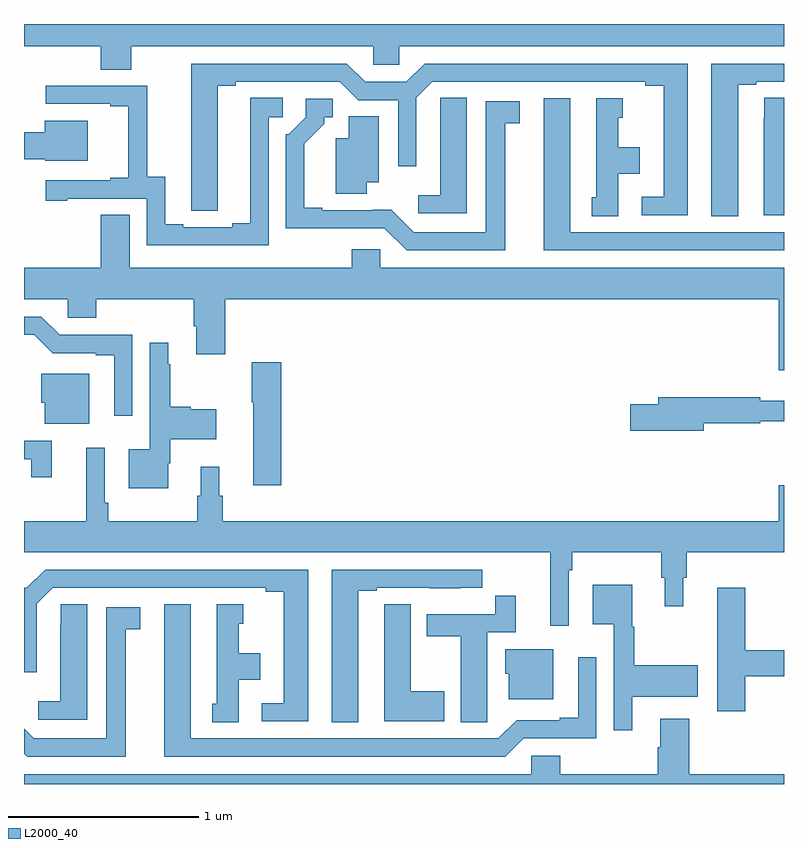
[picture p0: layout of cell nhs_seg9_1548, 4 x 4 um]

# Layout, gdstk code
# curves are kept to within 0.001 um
import gdstk
lib = gdstk.Library(unit=1e-6, precision=1e-09)
def P(c, l, *ps):  # polygons
    for p in ps: c.add(gdstk.Polygon(p, *l))
L2000_40 = (2000, 40)

nhs_seg9_1548 = lib.new_cell('nhs_seg9_1548')
P(nhs_seg9_1548, L2000_40, [(197.565,1232.384),(198.837,1232.384),(198.837,1232.286),(198.975,1232.286),(198.975,1232.384),(201,1232.384),(201,1232.5),(197,1232.5),(197,1232.384),(197.405,1232.384),(197.405,1232.26),(197.565,1232.26)],
  [(200.494,1232.292),(199.109,1232.292),(199.013,1232.196),(198.795,1232.196),(198.699,1232.292),(197.879,1232.292),(197.88,1231.516),(198.019,1231.516),(198.019,1232.176),(198.115,1232.176),(198.115,1232.196),(198.663,1232.196),(198.759,1232.1),(198.969,1232.1),(198.969,1231.752),(199.065,1231.752),(199.065,1232.112),(199.149,1232.196),(200.27,1232.196),(200.27,1232.176),(200.366,1232.176),(200.366,1231.59),(200.25,1231.59),(200.25,1231.494),(200.494,1231.494)],
  [(200.758,1232.181),(200.854,1232.181),(200.854,1232.196),(201,1232.196),(201,1232.292),(200.618,1232.292),(200.618,1231.489),(200.758,1231.489)],
  [(198.288,1232.01),(198.361,1232.01),(198.361,1232.111),(198.191,1232.111),(198.191,1231.451),(198.095,1231.451),(198.095,1231.431),(197.839,1231.431),(197.839,1231.446),(197.743,1231.446),(197.743,1231.697),(197.649,1231.697),(197.649,1232.175),(197.115,1232.175),(197.115,1232.079),(197.453,1232.079),(197.453,1232.067),(197.549,1232.067),(197.549,1231.69),(197.453,1231.69),(197.453,1231.677),(197.115,1231.677),(197.115,1231.569),(197.227,1231.569),(197.227,1231.581),(197.646,1231.581),(197.646,1231.335),(198.288,1231.335)],
  [(199.33,1232.111),(199.191,1232.111),(199.191,1232.003),(199.19,1232.003),(199.19,1231.6),(199.074,1231.6),(199.074,1231.503),(199.33,1231.503)],
  [(201,1232.111),(200.895,1232.111),(200.895,1232.003),(200.894,1232.003),(200.894,1231.493),(201,1231.493)],
  [(201,1231.404),(199.876,1231.404),(199.876,1232.11),(199.736,1232.11),(199.736,1231.308),(201,1231.308)],
  [(200.128,1231.712),(200.242,1231.712),(200.242,1231.852),(200.128,1231.852),(200.128,1232.007),(200.152,1232.007),(200.152,1232.11),(200.012,1232.11),(200.012,1231.587),(199.988,1231.587),(199.988,1231.489),(200.128,1231.489)],
  [(199.534,1231.978),(199.609,1231.978),(199.609,1232.094),(199.43,1232.094),(199.43,1231.404),(199.05,1231.404),(198.932,1231.522),(198.571,1231.521),(198.571,1231.534),(198.475,1231.534),(198.475,1231.87),(198.58,1231.975),(198.58,1232.01),(198.625,1232.01),(198.625,1232.106),(198.483,1232.106),(198.483,1232.01),(198.393,1231.92),(198.378,1231.92),(198.378,1231.424),(198.897,1231.425),(199.014,1231.308),(199.534,1231.308)],
  [(198.805,1231.667),(198.868,1231.667),(198.868,1232.015),(198.71,1232.015),(198.71,1231.9),(198.641,1231.9),(198.641,1231.606),(198.805,1231.606)],
  [(197.335,1231.99),(197.108,1231.99),(197.108,1231.929),(197,1231.929),(197,1231.787),(197.112,1231.787),(197.112,1231.781),(197.335,1231.781)],
  [(201,1231.216),(198.876,1231.216),(198.876,1231.314),(198.725,1231.314),(198.725,1231.216),(197.557,1231.216),(197.557,1231.496),(197.405,1231.496),(197.405,1231.216),(197,1231.216),(197,1231.052),(197.229,1231.052),(197.229,1230.954),(197.381,1230.954),(197.381,1231.052),(197.894,1231.052),(197.894,1230.91),(197.906,1230.91),(197.906,1230.762),(198.059,1230.762),(198.059,1231.052),(200.972,1231.052),(200.972,1230.678),(201,1230.678)],
  [(197.571,1230.864),(197.187,1230.864),(197.091,1230.96),(197,1230.96),(197,1230.864),(197.055,1230.864),(197.151,1230.768),(197.378,1230.768),(197.378,1230.756),(197.474,1230.756),(197.474,1230.438),(197.571,1230.438)],
  [(197.758,1230.189),(197.77,1230.189),(197.77,1230.314),(198.013,1230.314),(198.013,1230.472),(197.877,1230.472),(197.877,1230.485),(197.77,1230.485),(197.77,1230.71),(197.758,1230.71),(197.758,1230.823),(197.661,1230.823),(197.661,1230.262),(197.552,1230.262),(197.552,1230.056),(197.758,1230.056)],
  [(198.353,1230.721),(198.199,1230.721),(198.199,1230.508),(198.206,1230.508),(198.206,1230.072),(198.353,1230.072)],
  [(197.344,1230.658),(197.09,1230.658),(197.09,1230.507),(197.108,1230.507),(197.108,1230.395),(197.344,1230.395)],
  [(200.578,1230.4),(200.874,1230.4),(200.874,1230.408),(201,1230.408),(201,1230.517),(200.876,1230.517),(200.876,1230.536),(200.339,1230.536),(200.339,1230.5),(200.19,1230.5),(200.19,1230.358),(200.578,1230.358)],
  [(197.147,1230.306),(197,1230.306),(197,1230.21),(197.038,1230.21),(197.038,1230.114),(197.147,1230.114)],
  [(198.047,1230.018),(198.028,1230.018),(198.028,1230.169),(197.93,1230.169),(197.93,1230.018),(197.911,1230.018),(197.911,1229.884),(197.444,1229.884),(197.444,1229.98),(197.424,1229.98),(197.424,1230.271),(197.327,1230.271),(197.327,1229.884),(197,1229.884),(197,1229.72),(199.769,1229.72),(199.769,1229.334),(199.866,1229.334),(199.866,1229.624),(199.886,1229.624),(199.886,1229.72),(200.353,1229.72),(200.353,1229.586),(200.372,1229.586),(200.372,1229.436),(200.47,1229.436),(200.47,1229.586),(200.489,1229.586),(200.489,1229.72),(201,1229.72),(201,1230.073),(200.972,1230.073),(200.972,1229.884),(198.047,1229.884)],
  [(198.496,1229.628),(197.111,1229.628),(197.015,1229.532),(197,1229.532),(197,1229.088),(197.067,1229.088),(197.067,1229.448),(197.151,1229.532),(198.272,1229.532),(198.272,1229.512),(198.368,1229.512),(198.368,1228.926),(198.252,1228.926),(198.252,1228.83),(198.496,1228.83)],
  [(198.76,1229.517),(198.856,1229.517),(198.856,1229.532),(199.132,1229.532),(199.132,1229.531),(199.298,1229.531),(199.298,1229.532),(199.411,1229.532),(199.411,1229.628),(198.62,1229.628),(198.62,1228.825),(198.76,1228.825)],
  [(200.2,1228.958),(200.545,1228.958),(200.545,1229.124),(200.212,1229.124),(200.212,1229.328),(200.2,1229.328),(200.2,1229.548),(199.994,1229.548),(199.994,1229.342),(200.103,1229.342),(200.103,1228.782),(200.2,1228.782)],
  [(200.795,1229.068),(201,1229.068),(201,1229.204),(200.795,1229.204),(200.795,1229.533),(200.648,1229.533),(200.648,1228.884),(200.795,1228.884)],
  [(199.437,1228.936),(199.438,1228.936),(199.438,1229.298),(199.589,1229.298),(199.589,1229.491),(199.48,1229.491),(199.48,1229.394),(199.121,1229.394),(199.121,1229.278),(199.298,1229.278),(199.298,1228.825),(199.437,1228.825)],
  [(197.332,1229.447),(197.193,1229.447),(197.193,1229.339),(197.192,1229.339),(197.192,1228.936),(197.076,1228.936),(197.076,1228.839),(197.332,1228.839)],
  [(199.213,1228.989),(199.036,1228.989),(199.036,1229.447),(198.897,1229.447),(198.897,1229.339),(198.896,1229.339),(198.896,1228.829),(199.213,1228.829)],
  [(198.13,1229.048),(198.244,1229.048),(198.244,1229.188),(198.13,1229.188),(198.13,1229.343),(198.154,1229.343),(198.154,1229.446),(198.014,1229.446),(198.014,1228.923),(197.99,1228.923),(197.99,1228.825),(198.13,1228.825)],
  [(199.629,1228.74),(200.013,1228.74),(200.013,1229.167),(199.916,1229.167),(199.916,1228.849),(199.82,1228.849),(199.82,1228.836),(199.593,1228.836),(199.497,1228.74),(197.878,1228.74),(197.878,1229.446),(197.738,1229.446),(197.738,1228.644),(199.533,1228.644)],
  [(197.536,1229.314),(197.611,1229.314),(197.611,1229.43),(197.432,1229.43),(197.432,1228.74),(197.052,1228.74),(197,1228.792),(197,1228.66),(197.016,1228.644),(197.536,1228.644)],
  [(199.786,1229.209),(199.532,1229.209),(199.532,1229.079),(199.55,1229.079),(199.55,1228.946),(199.786,1228.946)],
  [(201,1228.552),(200.501,1228.552),(200.501,1228.843),(200.348,1228.843),(200.348,1228.694),(200.336,1228.694),(200.336,1228.552),(199.823,1228.552),(199.823,1228.65),(199.671,1228.65),(199.671,1228.552),(197,1228.552),(197,1228.5),(201,1228.5)])

lib.write_gds('nhs_seg9_1548.gds')
